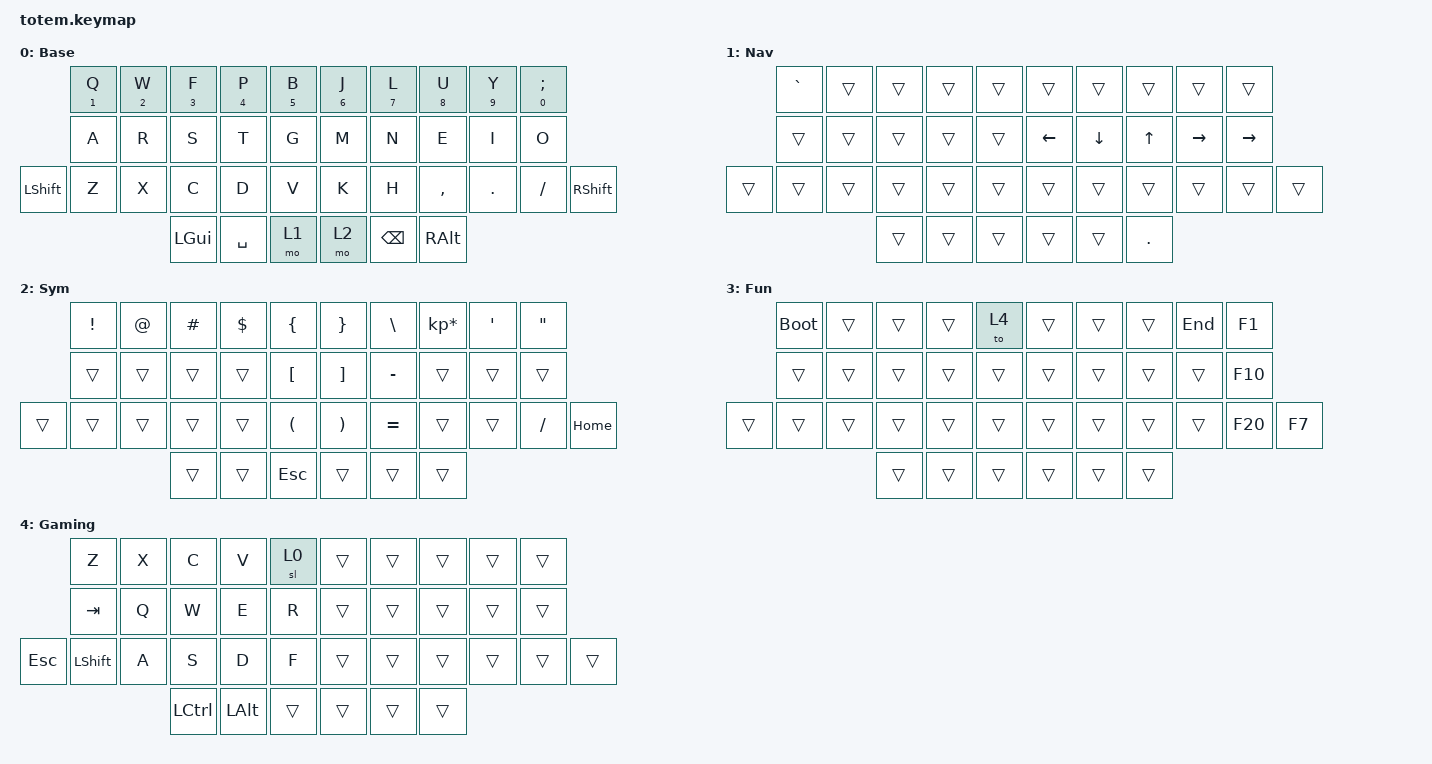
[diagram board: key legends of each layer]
//
//                                                        ▀▀▀▀▀     ▀▀▀▀▀          ▀▀█▀▀
//                                                        ▄▀▀▀▄  ▄  ▄▀▀▀▄  ▄  ▄▀▀▀▄  █  ▄▀▀▀▄
//                                                        █   █  █  █   █  █  █   █  █  █   █
//                                                         ▀▀▀   █   ▀▀▀   █   ▀▀▀   ▀   ▀▀▀
//                                                               █      ▄▄▄█▄▄▄    █   █  
//                                                               ▀      █  █  █     █▄█
//                                                             ▀▀▀▀▀    █  █  █      ▀
//                                                                      ▀  ▀  ▀
//
// ▄▄▄▄▄▄▄▄▄▄▄▄▄▄▄▄▄▄▄▄▄▄▄▄▄▄▄▄▄▄▄▄▄▄▄▄▄▄▄▄▄▄▄▄▄▄▄▄▄▄▄▄▄▄▄▄▄▄▄▄▄▄▄▄▄▄▄▄▄▄▄▄▄▄▄▄▄▄▄▄▄▄▄▄▄▄▄▄▄▄▄▄▄▄▄▄▄▄▄▄▄▄▄▄▄▄▄▄▄▄▄▄▄▄▄▄▄▄▄▄▄▄▄▄▄▄▄▄▄▄▄▄▄▄▄▄▄▄▄▄▄▄▄▄▄▄▄▄▄

#include <behaviors.dtsi>
#include <dt-bindings/zmk/keys.h>

#define Base        0
#define Nav         1
#define Sym         2
#define Fun         3
#define Game        4
#define Gameplus    5

&mt {
    quick-tap-ms = <100>;
    global-quick-tap;
    flavor = "tap-preferred";
    tapping-term-ms = <170>;
};

&lt {
    tapping-term-ms = <240>;
    flavor = "balanced";
    quick-tap-ms = <150>;
};

/ {
    behaviors {
        hm: homerow_mods {
            compatible = "zmk,behavior-hold-tap";
            label = "HOMEROW_MODS";
            #binding-cells = <2>;
            flavor = "tap-preferred";
            tapping-term-ms = <200>;
            quick-tap-ms = <125>;
            bindings = <&kp>, <&kp>;
        };

        hml: homerow_mods_layer {
            compatible = "zmk,behavior-hold-tap";
            label = "HOMEROW_MODS_LAYER";
            #binding-cells = <2>;
            tapping-term-ms = <200>;
            quick-tap-ms = <125>;
            flavor = "tap-preferred";
            bindings = <&mo>, <&kp>;
        };
    };

    combos {
        compatible = "zmk,combos";

        rctrl {
            bindings = <&kp RCTRL>;
            key-positions = <6 7 8>;
        };

        lctrl {
            bindings = <&kp LCTRL>;
            key-positions = <1 2 3>;
        };

        tab {
            bindings = <&kp TAB>;
            key-positions = <11 12 13>;
        };

        enter {
            bindings = <&kp ENTER>;
            key-positions = <16 17 18>;
        };
    };

    keymap {
        compatible = "zmk,keymap";

        Base {
            display-name = "Base";
            bindings = <
            &mt NUMBER_1 Q  &mt NUMBER_2 W  &mt NUMBER_3 F  &mt NUMBER_4 P  &mt NUMBER_5 B    &mt NUMBER_6 J  &mt N7 L       &mt NUMBER_8 U  &mt NUMBER_9 Y  &mt NUMBER_0 SEMICOLON
            &kp A           &kp R           &kp S           &kp T           &kp G             &kp M           &kp N          &kp E           &kp I           &kp O
&kp LSHIFT  &kp Z           &kp X           &kp C           &kp D           &kp V             &kp K           &kp H          &kp COMMA       &kp DOT         &kp SLASH               &kp RSHIFT
                                            &kp LEFT_GUI    &kp SPACE       &mo 1             &mo 2           &kp BACKSPACE  &kp RIGHT_ALT
            >;
        };

        Nav {
            display-name = "Nav";
            bindings = <
        &kp GRAVE  &trans  &trans  &trans  &trans    &trans    &trans    &trans   &trans     &trans
        &trans     &trans  &trans  &trans  &trans    &kp LEFT  &kp DOWN  &kp UP   &kp RIGHT  &kp RIGHT
&trans  &trans     &trans  &trans  &trans  &trans    &trans    &trans    &trans   &trans     &trans     &trans
                           &trans  &trans  &trans    &trans    &trans    &kp DOT
            >;
        };

        Sym {
            display-name = "Sym";
            bindings = <
        &kp EXCL  &kp AT  &kp HASH  &kp DOLLAR  &kp LEFT_BRACE          &kp RIGHT_BRACE        &kp BACKSLASH  &kp KP_ASTERISK  &kp SQT  &kp DQT
        &trans    &trans  &trans    &trans      &kp LEFT_BRACKET        &kp RIGHT_BRACKET      &kp MINUS      &trans           &trans   &trans
&trans  &trans    &trans  &trans    &trans      &kp LEFT_PARENTHESIS    &kp RIGHT_PARENTHESIS  &kp EQUAL      &trans           &trans   &kp SLASH  &kp HOME
                          &trans    &trans      &kp ESCAPE              &trans                 &trans         &trans
            >;
        };

        Fun {
            display-name = "Fun";
            bindings = <
        &bootloader  &trans  &trans  &trans  &to 4     &trans  &trans  &trans  &kp END  &kp F1
        &trans       &trans  &trans  &trans  &trans    &trans  &trans  &trans  &trans   &kp F10
&trans  &trans       &trans  &trans  &trans  &trans    &trans  &trans  &trans  &trans   &kp F20  &kp F7
                             &trans  &trans  &trans    &trans  &trans  &trans
            >;
        };

        Gaming {
            display-name = "Gaming";
            bindings = <
            &kp Z           &kp X  &kp C      &kp V         &sl 0     &trans  &trans  &trans  &trans  &trans
            &kp TAB         &kp Q  &kp W      &kp E         &kp R     &trans  &trans  &trans  &trans  &trans
&kp ESCAPE  &kp LEFT_SHIFT  &kp A  &kp S      &kp D         &kp F     &trans  &trans  &trans  &trans  &trans  &trans
                                   &kp LCTRL  &kp LEFT_ALT  &trans    &trans  &trans  &trans
            >;
        };
    };
};
